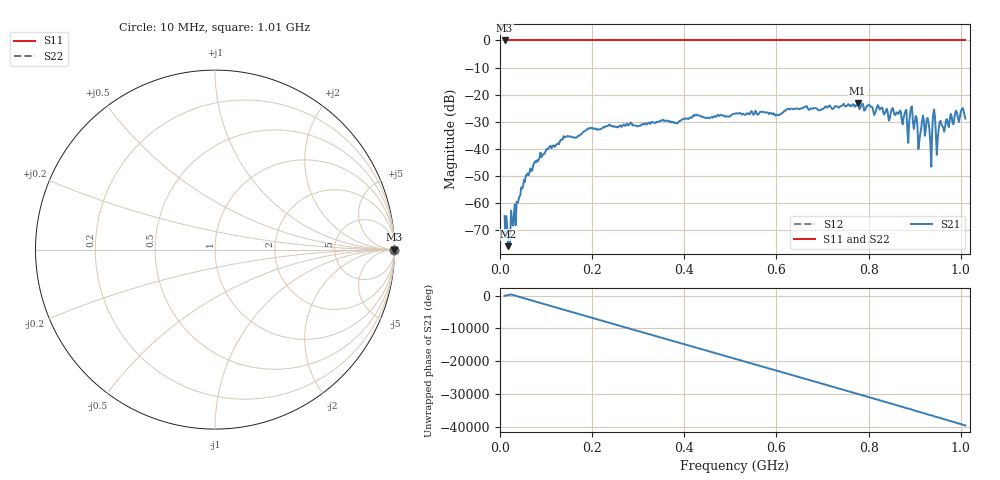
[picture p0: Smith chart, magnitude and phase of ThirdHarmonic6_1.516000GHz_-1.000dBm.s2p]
! 8/16/2025 5:52:49 PM
! C:\ANRITSUVNA\TEMP\TEMP.S2P
! CHANNEL.1
! TR.MEASUREMENT
! RAW.DATA
! RF.CORRECTION.OFF
! AVERAGING.OFF
! IF.BANDWIDTH: 5KHZ
! SWEEPTYPE:  FREQ.SWEEP(Linear)
! Reference Plane Port Info
! PORT:  PORT1  PORT2
! DISTANCE:  0  m  0  m
! TIME:  0  s  0  s
! PHASE.OFFSET:  0  deg.  0  deg.
! LOSS:  0  dB  0  dB
! REF.LOSS:  0  dB  0  dB
! REF.FREQ:  0  Hz  0  Hz
! Power Info
! POWER:  -20  dBm  -20  dBm
! EFF.POWER:  -20  dBm  -20  dBm
! SOURCE.ATTEN:  0  dB  0  dB
! TEST.ATTEN:  0  dB  0  dB
# GHZ S RI R 50.0
! FREQ.GHZ  S11RE  S11IM  S21RE  S21IM  S12RE  S12IM  S22RE  S22IM
!; PortSelection: Port_12
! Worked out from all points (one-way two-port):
!   501 points, 10 MHz to 1.01 GHz, reference 50 ohm
!   highest |S21| = -23.17 dB at 776 MHz (marker M1); lowest = -75.9 dB at 18 MHz (marker M2)
!   lowest |S11| = 0.0 dB at 10 MHz (marker M3)
!   |S11| at or under -10 dB: nowhere
!   |S22| runs from 0.0 to 0.0 dB; largest |S21 - S12| = 1.1
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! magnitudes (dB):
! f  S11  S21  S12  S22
! 10 MHz  0.0  -64.8  0.0  0.0
! 18 MHz  0.0  -75.9  0.0  0.0
! 56 MHz  0.0  -49.9  0.0  0.0
! 76 MHz  0.0  -44.6  0.0  0.0
! 142 MHz  0.0  -35.7  0.0  0.0
! 178 MHz  0.0  -34.4  0.0  0.0
! 344 MHz  0.0  -30.0  0.0  0.0
! 510 MHz  0.0  -27.0  0.0  0.0
! 678 MHz  0.0  -25.3  0.0  0.0
! 776 MHz  0.0  -23.2  0.0  0.0
! 844 MHz  0.0  -29.6  0.0  0.0
! 866 MHz  0.0  -26.8  0.0  0.0
! 886 MHz  0.0  -37.8  0.0  0.0
! 892 MHz  0.0  -24.8  0.0  0.0
! 910 MHz  0.0  -37.0  0.0  0.0
! 916 MHz  0.0  -29.5  0.0  0.0
! 928 MHz  0.0  -28.6  0.0  0.0
! 934 MHz  0.0  -37.8  0.0  0.0
! 942 MHz  0.0  -25.5  0.0  0.0
! 950 MHz  0.0  -36.3  0.0  0.0
! 956 MHz  0.0  -29.7  0.0  0.0
! 1.01 GHz  0.0  -28.9  0.0  0.0
